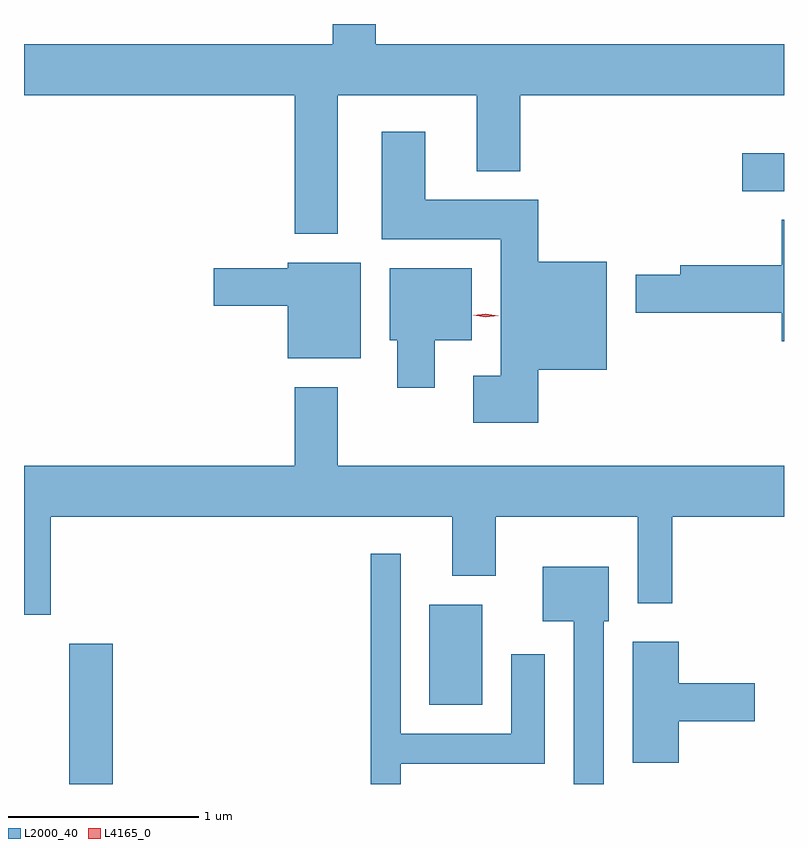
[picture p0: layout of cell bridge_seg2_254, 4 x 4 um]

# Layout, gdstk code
import gdstk
lib = gdstk.Library(unit=1e-6, precision=1e-09)
def R(c, l, rs):  # rectangles x0, y0, x1, y1
    for r in rs: c.add(gdstk.rectangle(r[:2], r[2:], *l))
def P(c, l, *ps):  # polygons
    for p in ps: c.add(gdstk.Polygon(p, *l))
L2000_40 = (2000, 40)
L4165_0 = (4165, 0)

bridge_seg2_254 = lib.new_cell('bridge_seg2_254')
R(bridge_seg2_254, L2000_40, [(466.476,1084.65,466.704,1085.389), (468.371,1085.066,468.649,1085.594), (470.016,1087.771,470.237,1087.969)])
P(bridge_seg2_254, L2000_40, [(467.889,1088.276),(468.621,1088.276),(468.621,1087.876),(468.849,1087.876),(468.849,1088.276),(470.237,1088.276),(470.237,1088.544),(468.089,1088.544),(468.089,1088.65),(467.861,1088.65),(467.861,1088.544),(466.237,1088.544),(466.237,1088.276),(467.661,1088.276),(467.661,1087.546),(467.889,1087.546)],
  [(468.944,1086.831),(469.304,1086.831),(469.304,1087.399),(468.944,1087.399),(468.944,1087.724),(468.349,1087.724),(468.349,1088.084),(468.121,1088.084),(468.121,1087.516),(468.746,1087.516),(468.746,1086.799),(468.601,1086.799),(468.601,1086.551),(468.944,1086.551)],
  [(470.237,1087.619),(470.226,1087.619),(470.226,1087.379),(469.691,1087.379),(469.691,1087.329),(469.456,1087.329),(469.456,1087.131),(470.226,1087.131),(470.226,1086.981),(470.237,1086.981)],
  [(468.009,1087.394),(467.626,1087.394),(467.626,1087.364),(467.236,1087.364),(467.236,1087.166),(467.626,1087.166),(467.626,1086.891),(468.009,1086.891)],
  [(468.399,1086.986),(468.594,1086.986),(468.594,1087.364),(468.161,1087.364),(468.161,1086.986),(468.201,1086.986),(468.201,1086.736),(468.399,1086.736)],
  [(466.379,1086.056),(468.491,1086.056),(468.491,1085.746),(468.719,1085.746),(468.719,1086.056),(469.466,1086.056),(469.466,1085.601),(469.649,1085.601),(469.649,1086.056),(470.237,1086.056),(470.237,1086.324),(467.889,1086.324),(467.889,1086.739),(467.661,1086.739),(467.661,1086.324),(466.237,1086.324),(466.237,1085.541),(466.379,1085.541)],
  [(468.219,1084.756),(468.979,1084.756),(468.979,1085.334),(468.801,1085.334),(468.801,1084.914),(468.219,1084.914),(468.219,1085.863),(468.061,1085.863),(468.061,1084.65),(468.219,1084.65)],
  [(469.289,1085.506),(469.314,1085.506),(469.314,1085.794),(468.966,1085.794),(468.966,1085.506),(469.131,1085.506),(469.131,1084.65),(469.289,1084.65)],
  [(469.684,1084.981),(470.084,1084.981),(470.084,1085.179),(469.684,1085.179),(469.684,1085.399),(469.441,1085.399),(469.441,1084.761),(469.684,1084.761)])
P(bridge_seg2_254, L4165_0, [(468.668,1087.106),(468.602,1087.116),(468.602,1087.117),(468.602,1087.118),(468.668,1087.126),(468.734,1087.115),(468.734,1087.115),(468.734,1087.114)])

lib.write_gds('bridge_seg2_254.gds')
